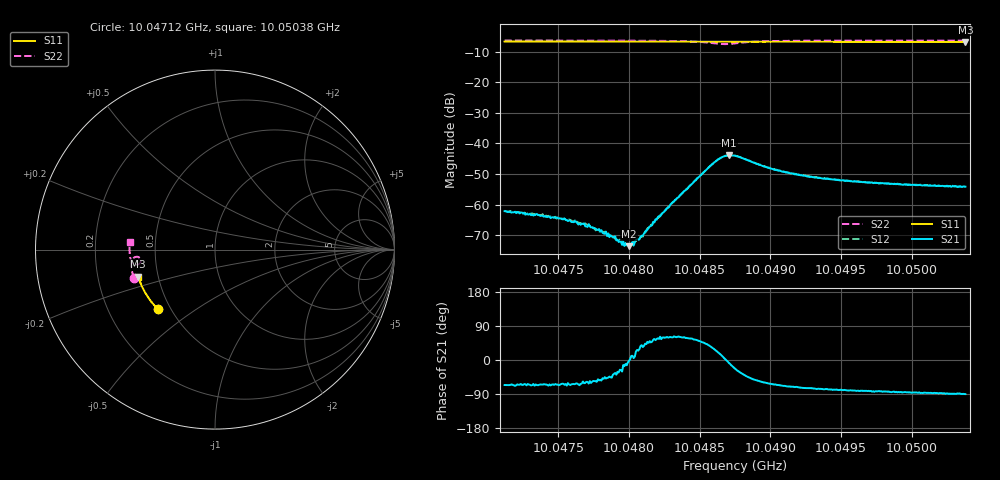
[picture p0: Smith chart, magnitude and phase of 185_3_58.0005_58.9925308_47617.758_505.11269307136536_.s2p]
#  HZ  S  RI  R  50.00
! Rohde & Schwarz Vector Network Analyzer
! Rohde-Schwarz,ZNB20-2Port,1311601062101988,3.16
! Created: UTC 3/21/2024, 12:58:36 AM
! freq[Hz]  re:S11  im:S11  re:S21  im:S21  re:S12  im:S12  re:S22  im:S22
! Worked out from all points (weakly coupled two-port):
!   401 points, 10.04712 GHz to 10.05038 GHz, reference 50 ohm
!   highest |S21| = -43.87 dB at 10.04871 GHz (marker M1); lowest = -73.5 dB at 10.048 GHz (marker M2)
!   lowest |S11| = -6.8 dB at 10.05038 GHz (marker M3), VSWR 2.67, Z = 19.2 - j7.27 ohm
!   |S11| at or under -10 dB: nowhere
!   |S22| runs from -7.6 to -6.4 dB; largest |S21 - S12| = 0.00047
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1.0047121e10  -0.3188 -0.3323  0.000318 -0.000716  0.000403 -0.000685  -0.4519 -0.1594
1.0047349e10  -0.3291 -0.3213  0.000285 -0.000645  0.00035 -0.00062  -0.4565 -0.1442
1.0047512e10  -0.3364 -0.3131  0.000252 -0.000544  0.000304 -0.000527  -0.4593 -0.1331
1.0047667e10  -0.3431 -0.3053  0.000229 -0.000431  0.000263 -0.000403  -0.4619 -0.1221
1.0047707e10  -0.3449 -0.3033  0.00023 -0.000368  0.000254 -0.000392  -0.4625 -0.119
1.0047887e10  -0.3522 -0.2942  0.000234 -0.00019  0.000222 -0.000188  -0.4648 -0.1056
1.0047936e10  -0.3541 -0.2915  0.000227 -0.00011  0.000248 -0.000101  -0.4652 -0.102
1.0047968e10  -0.3556 -0.2896  0.000203 -5.99e-05  0.00024 -7.07e-05  -0.4655 -0.0993
1.0048001e10  -0.3568 -0.2879  0.00021 -9.32e-06  0.000224 -1.45e-05  -0.4658 -0.0966
1.0048017e10  -0.3575 -0.2872  0.000225 4.27e-05  0.000209 2.4e-05  -0.4659 -0.0953
1.0048082e10  -0.36 -0.2837  0.000241 0.000179  0.000238 0.000175  -0.4664 -0.0899
1.0048139e10  -0.3623 -0.2806  0.000294 0.000296  0.000268 0.000327  -0.4664 -0.0847
1.0048213e10  -0.3652 -0.2767  0.000369 0.000538  0.000333 0.000529  -0.4662 -0.0779
1.0048327e10  -0.3695 -0.2705  0.000575 0.00104  0.000515 0.00108  -0.4644 -0.0659
1.0048588e10  -0.3786 -0.2558  0.0038 0.00246  0.00366 0.00272  -0.433 -0.0399
1.0048653e10  -0.3808 -0.2524  0.0057 0.00133  0.00565 0.00163  -0.4166 -0.0501
1.004871e10  -0.3826 -0.2495  0.00633 -0.000947  0.00644 -0.000546  -0.4144 -0.0689
1.0048751e10  -0.3839 -0.2473  0.00582 -0.00243  0.00597 -0.00205  -0.4218 -0.0796
1.0049036e10  -0.3939 -0.2312  0.00159 -0.00333  0.00178 -0.00331  -0.4657 -0.0643
1.0049297e10  -0.402 -0.2159  0.000743 -0.00273  0.000902 -0.00273  -0.4732 -0.0397
1.0049843e10  -0.417 -0.1831  0.000234 -0.00218  0.00035 -0.00217  -0.4766 0.00213
1.0050381e10  -0.429 -0.15  2.86e-06 -0.00197  0.000132 -0.00198  -0.475 0.0396
